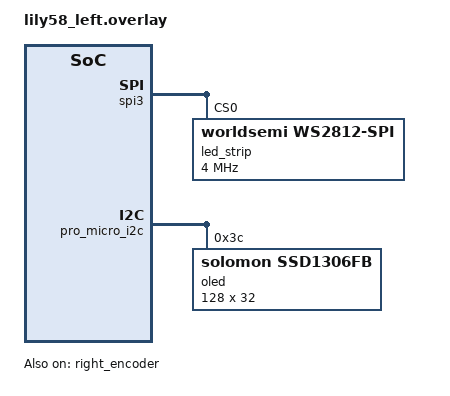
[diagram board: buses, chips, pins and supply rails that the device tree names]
#include "lily58.dtsi"

/* ----------------- Matrix ----------------- */
&kscan0 {
    col-gpios = <
        &pro_micro 10 GPIO_ACTIVE_HIGH
        &pro_micro 16 GPIO_ACTIVE_HIGH
        &pro_micro 14 GPIO_ACTIVE_HIGH
        &pro_micro 15 GPIO_ACTIVE_HIGH
        &pro_micro 18 GPIO_ACTIVE_HIGH
        &pro_micro 19 GPIO_ACTIVE_HIGH
    >;
};

/* ----------------- Encoders ----------------- */
&right_encoder {
    status = "okay";
};

/* ----------------- RGB UnderGlow ----------------- */
&spi3 {
    status = "okay";

    led_strip: ws2812@0 {
        compatible = "worldsemi,ws2812-spi";
        reg = <0>;
        spi-max-frequency = <4000000>;
        chain-length = <35>;     // Left half LEDs
        spi-one-frame = <0x70>;
        spi-zero-frame = <0x40>;
        color-mapping = <LED_COLOR_ID_GREEN LED_COLOR_ID_RED LED_COLOR_ID_BLUE>;
        status = "okay";
    };
};

/* ----------------- OLED ----------------- */
&pro_micro_i2c {
    status = "okay";

    oled: ssd1306@3c {
        compatible = "solomon,ssd1306fb";
        reg = <0x3c>;            // Left half I2C
        width = <128>;
        height = <32>;
        segment-remap;
        com-invdir;
        com-sequential;
        inversion-on;
        prechargep = <0x22>;
        status = "okay";
    };
};

/* ----------------- Chosen ----------------- */
{
    chosen {
        zmk,underglow = &led_strip;
        zephyr,display = &oled;
    };
};
